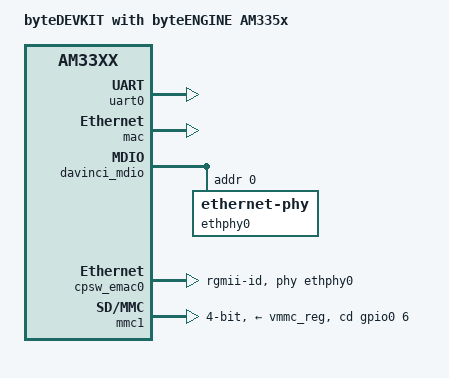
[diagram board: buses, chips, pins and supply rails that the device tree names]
// SPDX-License-Identifier: GPL-2.0-only
/*
 * Copyright (C) 2020 bytesatwork AG - https://www.bytesatwork.io
 */

#include "am335x-byteengine.dtsi"

/ {
	model = "byteDEVKIT with byteENGINE AM335x";
	compatible = "batw,bytedevkit-am335x", "batw,am335x", "ti,am33xx";
};

&am33xx_pinmux {
	uart0_pins: pinmux_uart0_pins {
		pinctrl-single,pins = <
			PIN_UART0_RXD	(MUX_MODE0 | PIN_INPUT_PULLUP)
			PIN_UART0_TXD	(MUX_MODE0 | PIN_OUTPUT_PULLDOWN)
		>;
	};

	cpsw_default: pinmux_cpsw_default {
		pinctrl-single,pins = <
			PIN_MII1_TX_EN	(PIN_OUTPUT | MUX_MODE2)	/* (J16) gmii1_txen.rgmii1_tctl */
			PIN_MII1_RX_DV	(PIN_INPUT | MUX_MODE2)		/* (J17) gmii1_rxdv.rgmii1_rctl */
			PIN_MII1_TX_CLK	(PIN_OUTPUT | MUX_MODE2)	/* (K18) gmii1_txclk.rgmii1_tclk */
			PIN_MII1_RX_CLK	(PIN_INPUT | MUX_MODE2)		/* (L18) gmii1_rxclk.rgmii1_rclk */
			PIN_MII1_TXD0	(PIN_OUTPUT | MUX_MODE2)	/* (K17) gmii1_txd0.rgmii1_td0 */
			PIN_MII1_TXD1	(PIN_OUTPUT | MUX_MODE2)	/* (K16) gmii1_txd1.rgmii1_td1 */
			PIN_MII1_TXD2	(PIN_OUTPUT | MUX_MODE2)	/* (K15) gmii1_txd2.rgmii1_td2 */
			PIN_MII1_TXD3	(PIN_OUTPUT | MUX_MODE2)	/* (J18) gmii1_txd3.rgmii1_td3 */
			PIN_MII1_RXD0	(PIN_INPUT | MUX_MODE2)		/* (M16) gmii1_rxd0.rgmii1_rd0 */
			PIN_MII1_RXD1	(PIN_INPUT | MUX_MODE2)		/* (L15) gmii1_rxd1.rgmii1_rd1 */
			PIN_MII1_RXD2	(PIN_INPUT | MUX_MODE2)		/* (L16) gmii1_rxd2.rgmii1_rd2 */
			PIN_MII1_RXD3	(PIN_INPUT | MUX_MODE2)		/* (L17) gmii1_rxd3.rgmii1_rd3 */
		>;
	};

	davinci_mdio_default: pinmux_davinci_mdio_default {
		pinctrl-single,pins = <
			PIN_MDIO	(MUX_MODE0 | PIN_INPUT_PULLUP)
			PIN_MDC		(MUX_MODE0 | PIN_OUTPUT_PULLUP)
		>;
	};


	mmc1_pins: pinmux_mmc1 {
		pinctrl-single,pins = <
			PIN_MMC0_DAT0	(PIN_INPUT | MUX_MODE0)		/* mmc0_dat0.mmc0_dat0 */
			PIN_MMC0_DAT1	(PIN_INPUT | MUX_MODE0)		/* mmc0_dat1.mmc0_dat1 */
			PIN_MMC0_DAT2	(PIN_INPUT | MUX_MODE0)		/* mmc0_dat2.mmc0_dat2 */
			PIN_MMC0_DAT3	(PIN_INPUT | MUX_MODE0)		/* mmc0_dat3.mmc0_dat3 */
			PIN_MMC0_CLK	(PIN_INPUT | MUX_MODE0)		/* mmc0_clk.mmc0_clk */
			PIN_MMC0_CMD	(PIN_INPUT | MUX_MODE0)		/* mmc0_cmd.mmc0_cmd */
		>;
	};

	mmc1_cd: pinmux_mmc1_cd {
		pinctrl-single,pins = <
			PIN_SPI0_CS1	(MUX_MODE7 | PIN_INPUT_PULLUP)	/* spi0_cs1.gpio0_6 */
		>;
	};
};

&uart0 {
	pinctrl-names = "default";
	pinctrl-0 = <&uart0_pins>;
	status = "okay";
};

&mac {
	pinctrl-names = "default";
	pinctrl-0 = <&cpsw_default>;
	slaves = <1>;
	active_slave = <0>;
	status = "okay";
};

&davinci_mdio {
	pinctrl-names = "default";
	pinctrl-0 = <&davinci_mdio_default>;
	max-speed = <100>;
	status = "okay";

	ethphy0: ethernet-phy@0 {
		reg = <0>;
	};
};

&cpsw_emac0 {
	phy_id = <&davinci_mdio>, <0>;
	phy-handle = <&ethphy0>;
        phy-mode = "rgmii-id";
};

&mmc1 {
	pinctrl-names = "default";
	pinctrl-0 = <&mmc1_pins &mmc1_cd>;
	vmmc-supply = <&vmmc_reg>;
	bus-width = <4>;
	cd-gpios = <&gpio0 6 GPIO_ACTIVE_HIGH>;
	status = "okay";
};
